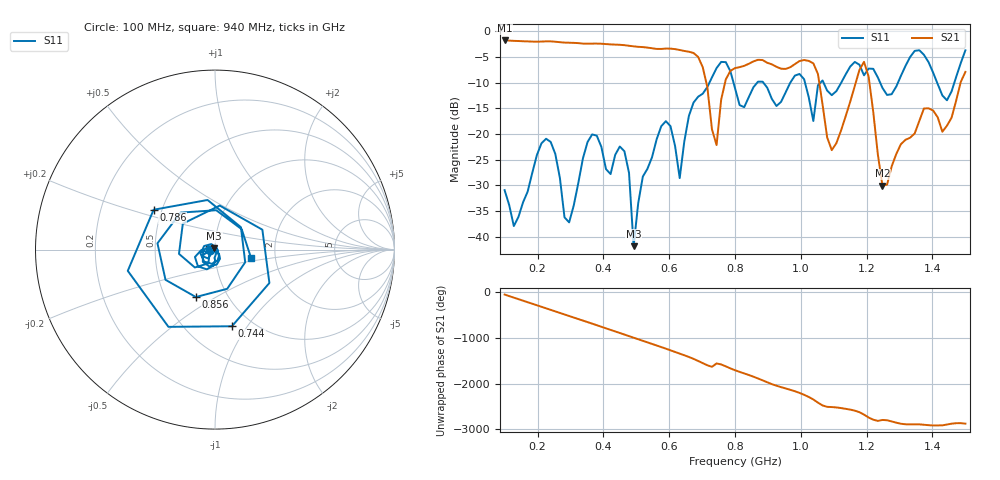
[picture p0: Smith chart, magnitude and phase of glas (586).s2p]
! NanoVNA-App
! Date: 2025-09-25 16:00:02
! Start: 100MHz Stop: 1,5GHz Points: 101
! S-Parameter data: F S11 S21 S12 S22
# Hz S RI R 50
!  Frequency  S11_Real  S11_Imag  S21_Real  S21_Imag  S12_Real  S12_Imag  S22_Real  S22_Imag
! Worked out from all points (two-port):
!   101 points, 100 MHz to 1.5 GHz, reference 50 ohm
!   highest |S21| = -1.80 dB at 100 MHz (marker M1); lowest = -30.1 dB at 1.248 GHz (marker M2)
!   |S21| within 3 dB of the highest: start of sweep to 684.2 MHz
!   lowest |S11| = -41.8 dB at 492 MHz (marker M3), VSWR 1.02, Z = 49.5 + j0.635 ohm
!   |S11| at or under -10 dB: start of sweep to 722.4 MHz; 795.4 MHz to 867.6 MHz (72.2 MHz wide, 8.68 % of centre); 886.1 MHz to 968.1 MHz (82.07 MHz wide, 8.85 % of centre) (the widest 3 of 7)
!   S12 and S22 are empty: the file has one direction only
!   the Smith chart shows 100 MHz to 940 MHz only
!   S11 on the Smith chart (normalised r, x): 100 MHz: 0.95, -0.01; 744 MHz: 0.81, -0.85; 786 MHz: 0.45, +0.24; 856 MHz: 0.71, -0.41; 940 MHz: 1.49, -0.14
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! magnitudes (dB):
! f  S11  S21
! 100 MHz  -30.9  -1.8
! 128 MHz  -37.9  -1.9
! 226 MHz  -20.9  -2.0
! 296 MHz  -37.2  -2.2
! 338 MHz  -24.7  -2.4
! 464 MHz  -23.4  -2.7
! 492 MHz  -41.8  -2.9
! 576 MHz  -18.5  -3.5
! 632 MHz  -28.6  -3.7
! 702 MHz  -12.2  -7.0
! 744 MHz  -7.2  -22.2
! 786 MHz  -7.8  -7.7
! 800 MHz  -11.1  -7.2
! 856 MHz  -10.9  -5.9
! 940 MHz  -13.7  -7.3
! 1.038 GHz  -17.5  -6.3
! 1.094 GHz  -12.4  -23.1
! 1.192 GHz  -8.6  -6.0
! 1.248 GHz  -11.0  -30.1
! 1.276 GHz  -12.3  -26.3
! 1.444 GHz  -13.4  -18.4
! 1.5 GHz  -3.7  -7.9
